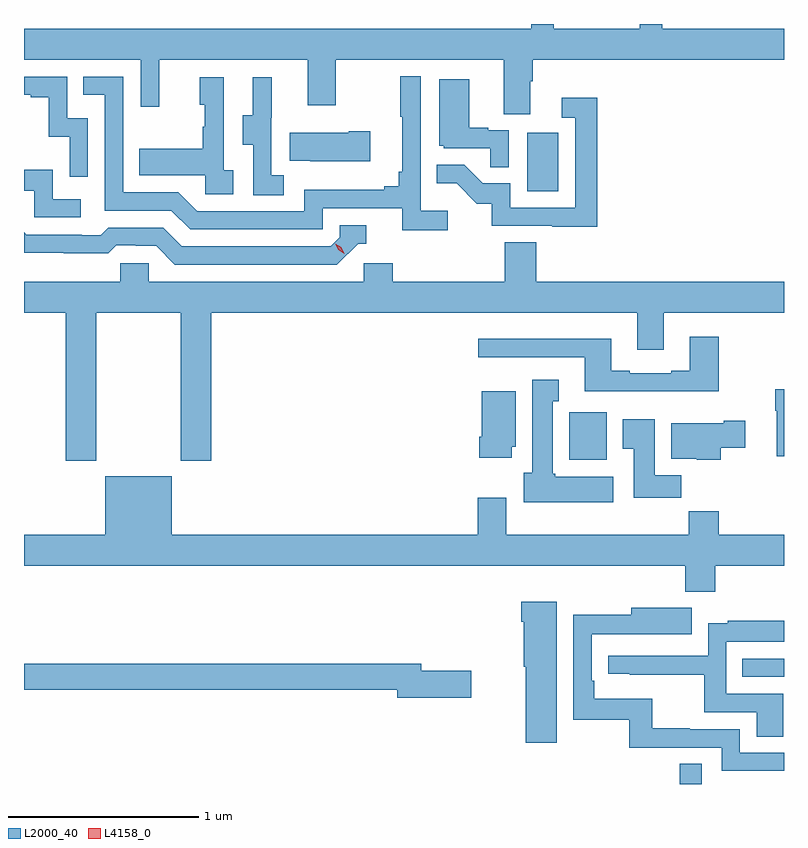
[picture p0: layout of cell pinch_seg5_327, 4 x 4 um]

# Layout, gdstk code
import gdstk
lib = gdstk.Library(unit=1e-6, precision=1e-09)
def R(c, l, rs):  # rectangles x0, y0, x1, y1
    for r in rs: c.add(gdstk.rectangle(r[:2], r[2:], *l))
def P(c, l, *ps):  # polygons
    for p in ps: c.add(gdstk.Polygon(p, *l))
L2000_40 = (2000, 40)
L4158_0 = (4158, 0)

pinch_seg5_327 = lib.new_cell('pinch_seg5_327')
R(pinch_seg5_327, L2000_40, [(948.271,876.924,948.387,877.031), (948.601,877.488,948.82,877.584), (947.691,878.63,947.887,878.88), (947.468,880.044,947.632,880.351)])
P(pinch_seg5_327, L2000_40, [(947.485,880.624),(947.498,880.624),(947.498,880.736),(948.82,880.736),(948.82,880.9),(948.179,880.9),(948.179,880.924),(948.062,880.924),(948.062,880.9),(947.609,880.9),(947.609,880.924),(947.491,880.924),(947.491,880.9),(944.82,880.9),(944.82,880.736),(945.435,880.736),(945.435,880.488),(945.533,880.488),(945.533,880.736),(946.313,880.736),(946.313,880.497),(946.461,880.497),(946.461,880.736),(947.345,880.736),(947.345,880.45),(947.485,880.45)],
  [(947.05,879.94),(946.908,879.94),(946.908,880.648),(946.8,880.648),(946.8,880.435),(946.811,880.435),(946.811,880.147),(946.792,880.147),(946.792,880.07),(946.715,880.07),(946.715,880.051),(946.296,880.051),(946.296,879.939),(945.732,879.939),(945.633,880.038),(945.342,880.038),(945.342,880.647),(945.133,880.647),(945.133,880.551),(945.246,880.551),(945.246,879.942),(945.596,879.942),(945.695,879.843),(946.392,879.843),(946.392,879.954),(946.811,879.954),(946.811,879.838),(947.05,879.838)],
  [(945.156,880.428),(945.048,880.428),(945.048,880.647),(944.82,880.647),(944.82,880.551),(944.855,880.551),(944.855,880.539),(944.951,880.539),(944.951,880.331),(945.06,880.331),(945.06,880.119),(945.156,880.119)],
  [(945.922,880.154),(945.87,880.154),(945.87,880.645),(945.746,880.645),(945.746,880.5),(945.772,880.5),(945.772,880.382),(945.762,880.382),(945.762,880.267),(945.427,880.267),(945.427,880.127),(945.774,880.127),(945.774,880.029),(945.922,880.029)],
  [(946.186,880.127),(946.122,880.127),(946.122,880.431),(946.124,880.431),(946.124,880.645),(946.025,880.645),(946.025,880.443),(945.971,880.443),(945.971,880.288),(946.026,880.288),(946.026,880.024),(946.186,880.024)],
  [(947.37,880.365),(947.264,880.365),(947.264,880.378),(947.164,880.378),(947.164,880.633),(947.006,880.633),(947.006,880.284),(947.028,880.284),(947.028,880.269),(947.275,880.269),(947.275,880.171),(947.37,880.171)],
  [(947.837,880.537),(947.649,880.537),(947.649,880.431),(947.721,880.431),(947.721,879.957),(947.379,879.957),(947.379,880.086),(947.235,880.086),(947.137,880.184),(946.993,880.184),(946.993,880.085),(947.097,880.085),(947.204,879.978),(947.281,879.978),(947.281,879.861),(947.599,879.861),(947.599,879.856),(947.837,879.856)],
  [(946.642,880.359),(946.529,880.359),(946.529,880.351),(946.219,880.351),(946.219,880.205),(946.327,880.205),(946.327,880.202),(946.642,880.202)],
  [(945.118,880.002),(944.97,880.002),(944.97,880.156),(944.82,880.156),(944.82,880.047),(944.874,880.047),(944.874,879.906),(945.118,879.906)],
  [(946.578,879.768),(946.621,879.768),(946.621,879.864),(946.482,879.864),(946.482,879.801),(946.434,879.753),(945.651,879.753),(945.552,879.852),(945.263,879.852),(945.224,879.813),(945.125,879.813),(945.125,879.816),(944.832,879.816),(944.82,879.828),(944.82,879.719),(945.03,879.719),(945.03,879.717),(945.263,879.717),(945.305,879.759),(945.408,879.759),(945.408,879.756),(945.515,879.756),(945.614,879.657),(946.467,879.657)],
  [(945.201,879.404),(945.646,879.404),(945.646,878.625),(945.806,878.625),(945.806,879.404),(948.047,879.404),(948.047,879.21),(948.187,879.21),(948.187,879.404),(948.82,879.404),(948.82,879.568),(947.516,879.568),(947.516,879.776),(947.351,879.776),(947.351,879.568),(946.76,879.568),(946.76,879.666),(946.608,879.666),(946.608,879.568),(945.477,879.568),(945.477,879.666),(945.327,879.666),(945.327,879.568),(944.82,879.568),(944.82,879.404),(945.041,879.404),(945.041,878.625),(945.201,878.625)],
  [(948.476,879.277),(948.323,879.277),(948.323,879.1),(948.227,879.1),(948.227,879.087),(948.007,879.087),(948.007,879.1),(947.911,879.1),(947.911,879.268),(947.211,879.268),(947.211,879.171),(947.771,879.171),(947.771,878.99),(948.476,878.99)],
  [(947.92,878.542),(947.616,878.542),(947.616,878.556),(947.602,878.556),(947.602,878.939),(947.635,878.939),(947.635,879.052),(947.495,879.052),(947.495,878.562),(947.45,878.562),(947.45,878.408),(947.92,878.408)],
  [(948.82,879.001),(948.775,879.001),(948.775,878.888),(948.782,878.888),(948.782,878.648),(948.82,878.648)],
  [(947.386,878.7),(947.407,878.7),(947.407,878.992),(947.228,878.992),(947.228,878.752),(947.216,878.752),(947.216,878.64),(947.386,878.64)],
  [(948.278,878.548),(948.139,878.548),(948.139,878.845),(947.972,878.845),(947.972,878.689),(948.029,878.689),(948.029,878.43),(948.278,878.43)],
  [(948.486,878.695),(948.616,878.695),(948.616,878.837),(948.503,878.837),(948.503,878.824),(948.227,878.824),(948.227,878.636),(948.36,878.636),(948.36,878.63),(948.486,878.63)],
  [(948.459,878.072),(948.82,878.072),(948.82,878.236),(948.476,878.236),(948.476,878.36),(948.319,878.36),(948.319,878.236),(947.359,878.236),(947.359,878.431),(947.207,878.431),(947.207,878.236),(945.598,878.236),(945.598,878.545),(945.248,878.545),(945.248,878.236),(944.82,878.236),(944.82,878.072),(948.299,878.072),(948.299,877.937),(948.459,877.937)],
  [(947.623,877.882),(947.438,877.882),(947.438,877.778),(947.45,877.778),(947.45,877.542),(947.462,877.542),(947.462,877.14),(947.623,877.14)],
  [(948.82,877.089),(948.588,877.089),(948.588,877.212),(948.323,877.212),(948.323,877.217),(948.127,877.217),(948.127,877.372),(947.822,877.372),(947.822,877.468),(947.808,877.468),(947.808,877.713),(948.121,877.713),(948.121,877.712),(948.335,877.712),(948.335,877.852),(948.017,877.852),(948.017,877.814),(947.712,877.814),(947.712,877.263),(948.006,877.263),(948.006,877.116),(948.492,877.116),(948.492,876.993),(948.82,876.993)],
  [(948.817,877.398),(948.516,877.398),(948.516,877.674),(948.82,877.674),(948.82,877.783),(948.523,877.783),(948.523,877.771),(948.42,877.771),(948.42,877.599),(947.895,877.599),(947.895,877.503),(948.007,877.503),(948.007,877.498),(948.4,877.498),(948.4,877.302),(948.677,877.302),(948.677,877.174),(948.817,877.174)],
  [(947.173,877.52),(946.912,877.52),(946.912,877.556),(944.82,877.556),(944.82,877.42),(946.784,877.42),(946.784,877.378),(947.173,877.378)])
P(pinch_seg5_327, L4158_0, [(946.506,879.716),(946.475,879.735),(946.459,879.768),(946.459,879.768),(946.459,879.768),(946.49,879.748),(946.506,879.716),(946.506,879.716)])

lib.write_gds('pinch_seg5_327.gds')
